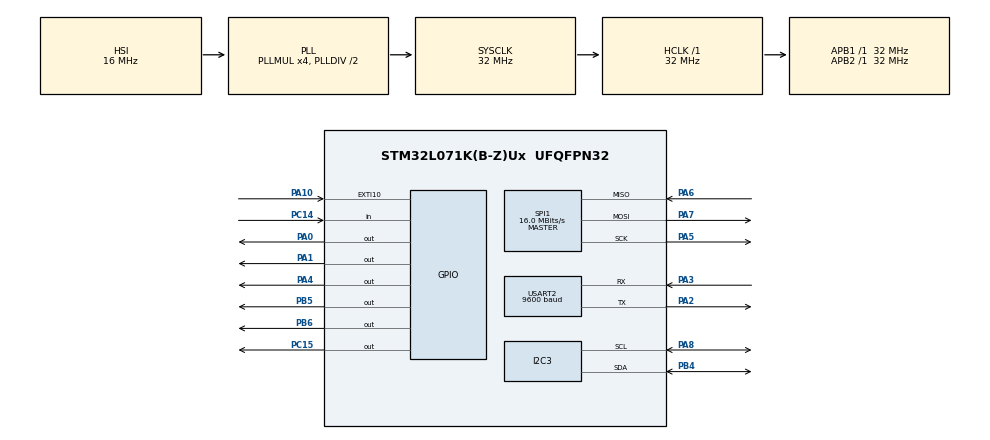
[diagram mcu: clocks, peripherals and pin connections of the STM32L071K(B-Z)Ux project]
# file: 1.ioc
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Dma.MEMTOMEM.0.Direction=DMA_MEMORY_TO_MEMORY
Dma.MEMTOMEM.0.Instance=DMA1_Channel1
Dma.MEMTOMEM.0.MemDataAlignment=DMA_MDATAALIGN_BYTE
Dma.MEMTOMEM.0.MemInc=DMA_MINC_ENABLE
Dma.MEMTOMEM.0.Mode=DMA_NORMAL
Dma.MEMTOMEM.0.PeriphDataAlignment=DMA_PDATAALIGN_BYTE
Dma.MEMTOMEM.0.PeriphInc=DMA_PINC_ENABLE
Dma.MEMTOMEM.0.Priority=DMA_PRIORITY_LOW
Dma.Request0=MEMTOMEM
Dma.Request1=USART2_RX
Dma.USART2_RX.1.Direction=DMA_PERIPH_TO_MEMORY
Dma.USART2_RX.1.Instance=DMA1_Channel5
Dma.USART2_RX.1.MemDataAlignment=DMA_MDATAALIGN_BYTE
Dma.USART2_RX.1.MemInc=DMA_MINC_ENABLE
Dma.USART2_RX.1.Mode=DMA_CIRCULAR
Dma.USART2_RX.1.PeriphDataAlignment=DMA_PDATAALIGN_BYTE
Dma.USART2_RX.1.PeriphInc=DMA_PINC_DISABLE
Dma.USART2_RX.1.Priority=DMA_PRIORITY_LOW
I2C3.I2C_Fall_Time=250
I2C3.I2C_Rise_Time=250
I2C3.Timing=0x00F47CAB
Mcu.Family=STM32L0
Mcu.Name=STM32L071K(B-Z)Ux
Mcu.Package=UFQFPN32
NVIC.DMA1_Channel1_IRQn=true\:0\:0\:false\:false\:true\:true\:true
NVIC.DMA1_Channel4_5_6_7_IRQn=true\:0\:0\:false\:false\:true\:false\:true
NVIC.EXTI4_15_IRQn=true\:0\:0\:false\:false\:true\:true\:true
NVIC.TIM6_IRQn=true\:0\:0\:false\:false\:true\:true\:true
NVIC.USART2_IRQn=true\:0\:0\:false\:false\:true\:true\:true
PA0.Signal=GPIO_Output
PA1.Signal=GPIO_Output
PA10.Signal=GPXTI10
PA13.Mode=Serial_Wire
PA13.Signal=SYS_SWDIO
PA14.Mode=Serial_Wire
PA14.Signal=SYS_SWCLK
PA2.Mode=Asynchronous
PA2.Signal=USART2_TX
PA3.Mode=Asynchronous
PA3.Signal=USART2_RX
PA4.Signal=GPIO_Output
PA5.Mode=Full_Duplex_Master
PA5.Signal=SPI1_SCK
PA6.Mode=Full_Duplex_Master
PA6.Signal=SPI1_MISO
PA7.Mode=Full_Duplex_Master
PA7.Signal=SPI1_MOSI
PA8.Mode=I2C
PA8.Signal=I2C3_SCL
PB4.Mode=I2C
PB4.Signal=I2C3_SDA
PB5.Signal=GPIO_Output
PB6.Signal=GPIO_Output
PC14-OSC32_IN.Signal=GPIO_Input
PC15-OSC32_OUT.Signal=GPIO_Output
ProjectManager.HeapSize=0x200
ProjectManager.StackSize=0x400
ProjectManager.TargetToolchain=MDK-ARM V5
RCC.AHBFreq_Value=32000000
RCC.APB1Freq_Value=32000000
RCC.APB1TimFreq_Value=32000000
RCC.APB2Freq_Value=32000000
RCC.APB2TimFreq_Value=32000000
RCC.HCLKFreq_Value=32000000
RCC.HSI16_VALUE=16000000
RCC.HSI_VALUE=16000000
RCC.LSE_VALUE=32768
RCC.MSI_VALUE=2097000
RCC.PLLMUL=RCC_PLLMUL_4
RCC.SYSCLKFreq_VALUE=32000000
RCC.SYSCLKSource=RCC_SYSCLKSOURCE_PLLCLK
RCC.VCOOutputFreq_Value=64000000
RTC.Format=RTC_FORMAT_BIN
RTC.SynchPrediv=307
SPI1.CalculateBaudRate=16.0 MBits/s
SPI1.Direction=SPI_DIRECTION_2LINES
SPI1.Mode=SPI_MODE_MASTER
SPI1.VirtualType=VM_MASTER
TIM6.Period=999
TIM6.Prescaler=31
USART2.BaudRate=9600
USART2.VirtualMode-Asynchronous=VM_ASYNC
VP_CRC_VS_CRC.Mode=CRC_Activate
VP_RTC_VS_RTC_Activate.Mode=RTC_Enabled
VP_RTC_VS_RTC_Calendar.Mode=RTC_Calendar
VP_TIM6_VS_ClockSourceINT.Mode=Enable_Timer
board=custom

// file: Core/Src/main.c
/* USER CODE BEGIN Header */
/**
  ******************************************************************************
  * @file           : main.c
  * @brief          : Main program body
  ******************************************************************************
  * @attention
  *
  * <h2><center>&copy; Copyright (c) 2022 STMicroelectronics.
  * All rights reserved.</center></h2>
  *
  * This software component is licensed by ST under BSD 3-Clause license,
  * the "License"; You may not use this file except in compliance with the
  * License. You may obtain a copy of the License at:
  *                        opensource.org/licenses/BSD-3-Clause
  *
  ******************************************************************************
  */
/* USER CODE END Header */
#include "main.h"
#include "crc.h"
#include "dma.h"
#include "i2c.h"
#include "rtc.h"
#include "spi.h"
#include "tim.h"
#include "usart.h"
#include "gpio.h"

/* USER CODE BEGIN Includes */
#include "oled.h"
#include "string.h"
#include "stdio.h"
#include "lora.h"
/* USER CODE END Includes */

/* USER CODE BEGIN PTD */
#define FREQ  (433000000)
/* USER CODE END PTD */

void SystemClock_Config(void);

int main(void)
{
  /* USER CODE BEGIN 1 */
		char lcdLine_1st_line[16];
    char lcdLine_2st_line[16];
  /* USER CODE END 1 */

  /* MCU Configuration--------------------------------------------------------*/

  /* Reset of all peripherals, Initializes the Flash interface and the Systick. */
  HAL_Init();

  /* Configure the system clock */
  SystemClock_Config();

  /* Initialize all configured peripherals */
  MX_GPIO_Init();
  MX_DMA_Init();
  MX_CRC_Init();
  MX_USART2_UART_Init();
  MX_RTC_Init();
  MX_TIM6_Init();
  MX_I2C3_Init();
  MX_SPI1_Init();
  /* USER CODE BEGIN 2 */
		HAL_Delay(100);
    OLED_Init();

		sprintf(lcdLine_1st_line, "GXCT IOT       ");
		sprintf(lcdLine_2st_line, "Hello World    ");

		OLED_ShowString(0, 0, (unsigned char *)lcdLine_1st_line, 16);
		OLED_ShowString(0, 2, (unsigned char *)lcdLine_2st_line, 16);
		LORA_Init();
  /* USER CODE END 2 */

  /* Infinite loop */
  while (1)
  {

    /* USER CODE BEGIN 3 */
		sprintf(lcdLine_1st_line, "GXCT IOT       ");
		sprintf(lcdLine_2st_line, "Hello World    ");
//		unsigned char send;
		LORA_Tx((unsigned char *)lcdLine_2st_line,5);
		OLED_ShowString(0, 0, (unsigned char *)lcdLine_1st_line, 16);
		OLED_ShowString(0, 2, (unsigned char *)lcdLine_2st_line, 16);

  }
  /* USER CODE END 3 */
}

void SystemClock_Config(void)
{
  RCC_OscInitTypeDef RCC_OscInitStruct = {0};
  RCC_ClkInitTypeDef RCC_ClkInitStruct = {0};
  RCC_PeriphCLKInitTypeDef PeriphClkInit = {0};

  /** Configure the main internal regulator output voltage
  */
  __HAL_PWR_VOLTAGESCALING_CONFIG(PWR_REGULATOR_VOLTAGE_SCALE1);
  /** Initializes the RCC Oscillators according to the specified parameters
  * in the RCC_OscInitTypeDef structure.
  */
  RCC_OscInitStruct.OscillatorType = RCC_OSCILLATORTYPE_HSI|RCC_OSCILLATORTYPE_LSI;
  RCC_OscInitStruct.HSIState = RCC_HSI_ON;
  RCC_OscInitStruct.HSICalibrationValue = RCC_HSICALIBRATION_DEFAULT;
  RCC_OscInitStruct.LSIState = RCC_LSI_ON;
  RCC_OscInitStruct.PLL.PLLState = RCC_PLL_ON;
  RCC_OscInitStruct.PLL.PLLSource = RCC_PLLSOURCE_HSI;
  RCC_OscInitStruct.PLL.PLLMUL = RCC_PLLMUL_4;
  RCC_OscInitStruct.PLL.PLLDIV = RCC_PLLDIV_2;
  if (HAL_RCC_OscConfig(&RCC_OscInitStruct) != HAL_OK)
  {
    Error_Handler();
  }
  /** Initializes the CPU, AHB and APB buses clocks
  */
  RCC_ClkInitStruct.ClockType = RCC_CLOCKTYPE_HCLK|RCC_CLOCKTYPE_SYSCLK
                              |RCC_CLOCKTYPE_PCLK1|RCC_CLOCKTYPE_PCLK2;
  RCC_ClkInitStruct.SYSCLKSource = RCC_SYSCLKSOURCE_PLLCLK;
  RCC_ClkInitStruct.AHBCLKDivider = RCC_SYSCLK_DIV1;
  RCC_ClkInitStruct.APB1CLKDivider = RCC_HCLK_DIV1;
  RCC_ClkInitStruct.APB2CLKDivider = RCC_HCLK_DIV1;

  if (HAL_RCC_ClockConfig(&RCC_ClkInitStruct, FLASH_LATENCY_1) != HAL_OK)
  {
    Error_Handler();
  }
  PeriphClkInit.PeriphClockSelection = RCC_PERIPHCLK_USART2|RCC_PERIPHCLK_I2C3
                              |RCC_PERIPHCLK_RTC;
  PeriphClkInit.Usart2ClockSelection = RCC_USART2CLKSOURCE_PCLK1;
  PeriphClkInit.I2c3ClockSelection = RCC_I2C3CLKSOURCE_PCLK1;
  PeriphClkInit.RTCClockSelection = RCC_RTCCLKSOURCE_LSI;
  if (HAL_RCCEx_PeriphCLKConfig(&PeriphClkInit) != HAL_OK)
  {
    Error_Handler();
  }
}

void Error_Handler(void)
{
  __disable_irq();
  while (1)
  {
  }
}

/************************ (C) COPYRIGHT STMicroelectronics *****END OF FILE****/
